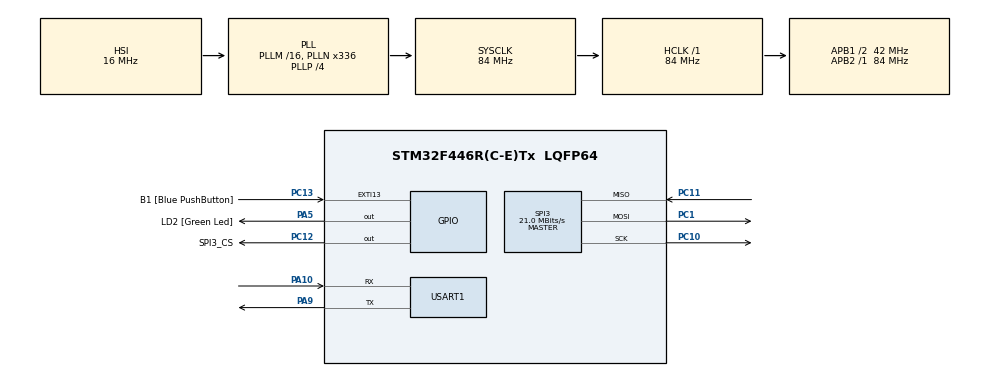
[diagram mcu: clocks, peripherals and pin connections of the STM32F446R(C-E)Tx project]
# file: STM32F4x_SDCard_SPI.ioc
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FATFS._MAX_SS=4096
FATFS._USE_LFN=1
Mcu.Family=STM32F4
Mcu.Name=STM32F446R(C-E)Tx
Mcu.Package=LQFP64
NVIC.PriorityGroup=NVIC_PRIORITYGROUP_0
PA10.Mode=Asynchronous
PA10.Signal=USART1_RX
PA13.GPIO_Label=TMS
PA13.Mode=Serial_Wire
PA13.Signal=SYS_JTMS-SWDIO
PA14.GPIO_Label=TCK
PA14.Mode=Serial_Wire
PA14.Signal=SYS_JTCK-SWCLK
PA2.GPIO_Label=USART_TX
PA2.Signal=USART2_TX
PA3.GPIO_Label=USART_RX
PA3.Signal=USART2_RX
PA5.GPIO_Label=LD2 [Green Led]
PA5.Signal=GPIO_Output
PA9.Mode=Asynchronous
PA9.Signal=USART1_TX
PB3.GPIO_Label=SWO
PB3.Signal=SYS_JTDO-SWO
PC1.Mode=Full_Duplex_Master
PC1.Signal=SPI3_MOSI
PC10.Mode=Full_Duplex_Master
PC10.Signal=SPI3_SCK
PC11.Mode=Full_Duplex_Master
PC11.Signal=SPI3_MISO
PC12.GPIO_Label=SPI3_CS
PC12.Signal=GPIO_Output
PC13.GPIO_Label=B1 [Blue PushButton]
PC13.GPIO_ModeDefaultEXTI=GPIO_MODE_IT_FALLING
PC13.Signal=GPXTI13
PC14-OSC32_IN.Mode=LSE-External-Oscillator
PC14-OSC32_IN.Signal=RCC_OSC32_IN
PC15-OSC32_OUT.Mode=LSE-External-Oscillator
PC15-OSC32_OUT.Signal=RCC_OSC32_OUT
PH0-OSC_IN.Mode=HSE-External-Oscillator
PH0-OSC_IN.Signal=RCC_OSC_IN
PH1-OSC_OUT.Mode=HSE-External-Oscillator
PH1-OSC_OUT.Signal=RCC_OSC_OUT
ProjectManager.HeapSize=0x200
ProjectManager.StackSize=0x400
ProjectManager.TargetToolchain=STM32CubeIDE
RCC.48MHZClocksFreq_Value=84000000
RCC.AHBFreq_Value=84000000
RCC.APB1CLKDivider=RCC_HCLK_DIV2
RCC.APB1Freq_Value=42000000
RCC.APB1TimFreq_Value=84000000
RCC.APB2Freq_Value=84000000
RCC.APB2TimFreq_Value=84000000
RCC.CortexFreq_Value=84000000
RCC.FLatency-AdvancedSettings=FLASH_LATENCY_2
RCC.HCLKFreq_Value=84000000
RCC.HSE_VALUE=8000000
RCC.HSI_VALUE=16000000
RCC.PLLN=336
RCC.PLLP=RCC_PLLP_DIV4
RCC.SYSCLKFreq_VALUE=84000000
RCC.SYSCLKSource=RCC_SYSCLKSOURCE_PLLCLK
RCC.USBFreq_Value=168000000
RCC.VCOOutputFreq_Value=336000000
SPI3.CalculateBaudRate=21.0 MBits/s
SPI3.Direction=SPI_DIRECTION_2LINES
SPI3.Mode=SPI_MODE_MASTER
SPI3.VirtualType=VM_MASTER
USART1.VirtualMode=VM_ASYNC
VP_FATFS_VS_Generic.Mode=User_defined
board=NUCLEO-F446RE

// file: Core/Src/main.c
/* USER CODE BEGIN Header */
/**
  ******************************************************************************
  * @file           : main.c
  * @brief          : Main program body
  ******************************************************************************
  * @attention
  *
  * Copyright (c) 2024 STMicroelectronics.
  * All rights reserved.
  *
  * This software is licensed under terms that can be found in the LICENSE file
  * in the root directory of this software component.
  * If no LICENSE file comes with this software, it is provided AS-IS.
  *
  ******************************************************************************
  */
/* USER CODE END Header */
#include "main.h"
#include "fatfs.h"

SPI_HandleTypeDef hspi3;

UART_HandleTypeDef huart1;

/* USER CODE BEGIN PV */
char TxBuffer[250];
/* USER CODE END PV */

void SystemClock_Config(void);
static void MX_GPIO_Init(void);
static void MX_SPI3_Init(void);
static void MX_USART1_UART_Init(void);
/* USER CODE BEGIN PFP */
static void SD_Card_Test(void);
/* USER CODE END PFP */

/* USER CODE BEGIN 0 */
static void UART_Print(char *str)
{

	HAL_UART_Transmit(&huart1, (uint8_t*)str, strlen(str), 100);
}
/* USER CODE END 0 */

int main(void)
{

  /* MCU Configuration--------------------------------------------------------*/

  /* Reset of all peripherals, Initializes the Flash interface and the Systick. */
  HAL_Init();

  /* Configure the system clock */
  SystemClock_Config();

  /* Initialize all configured peripherals */
  MX_GPIO_Init();
  MX_SPI3_Init();
  MX_FATFS_Init();
  MX_USART1_UART_Init();
  /* USER CODE BEGIN 2 */
  SD_Card_Test();

  /* USER CODE END 2 */

  /* Infinite loop */
  while (1)
  {

  }
}

void SystemClock_Config(void)
{
  RCC_OscInitTypeDef RCC_OscInitStruct = {0};
  RCC_ClkInitTypeDef RCC_ClkInitStruct = {0};

  /** Configure the main internal regulator output voltage
  */
  __HAL_RCC_PWR_CLK_ENABLE();
  __HAL_PWR_VOLTAGESCALING_CONFIG(PWR_REGULATOR_VOLTAGE_SCALE3);

  /** Initializes the RCC Oscillators according to the specified parameters
  * in the RCC_OscInitTypeDef structure.
  */
  RCC_OscInitStruct.OscillatorType = RCC_OSCILLATORTYPE_HSI;
  RCC_OscInitStruct.HSIState = RCC_HSI_ON;
  RCC_OscInitStruct.HSICalibrationValue = RCC_HSICALIBRATION_DEFAULT;
  RCC_OscInitStruct.PLL.PLLState = RCC_PLL_ON;
  RCC_OscInitStruct.PLL.PLLSource = RCC_PLLSOURCE_HSI;
  RCC_OscInitStruct.PLL.PLLM = 16;
  RCC_OscInitStruct.PLL.PLLN = 336;
  RCC_OscInitStruct.PLL.PLLP = RCC_PLLP_DIV4;
  RCC_OscInitStruct.PLL.PLLQ = 2;
  RCC_OscInitStruct.PLL.PLLR = 2;
  if (HAL_RCC_OscConfig(&RCC_OscInitStruct) != HAL_OK)
  {
    Error_Handler();
  }

  /** Initializes the CPU, AHB and APB buses clocks
  */
  RCC_ClkInitStruct.ClockType = RCC_CLOCKTYPE_HCLK|RCC_CLOCKTYPE_SYSCLK
                              |RCC_CLOCKTYPE_PCLK1|RCC_CLOCKTYPE_PCLK2;
  RCC_ClkInitStruct.SYSCLKSource = RCC_SYSCLKSOURCE_PLLCLK;
  RCC_ClkInitStruct.AHBCLKDivider = RCC_SYSCLK_DIV1;
  RCC_ClkInitStruct.APB1CLKDivider = RCC_HCLK_DIV2;
  RCC_ClkInitStruct.APB2CLKDivider = RCC_HCLK_DIV1;

  if (HAL_RCC_ClockConfig(&RCC_ClkInitStruct, FLASH_LATENCY_2) != HAL_OK)
  {
    Error_Handler();
  }
}

static void MX_SPI3_Init(void)
{

  /* SPI3 parameter configuration*/
  hspi3.Instance = SPI3;
  hspi3.Init.Mode = SPI_MODE_MASTER;
  hspi3.Init.Direction = SPI_DIRECTION_2LINES;
  hspi3.Init.DataSize = SPI_DATASIZE_8BIT;
  hspi3.Init.CLKPolarity = SPI_POLARITY_LOW;
  hspi3.Init.CLKPhase = SPI_PHASE_1EDGE;
  hspi3.Init.NSS = SPI_NSS_SOFT;
  hspi3.Init.BaudRatePrescaler = SPI_BAUDRATEPRESCALER_2;
  hspi3.Init.FirstBit = SPI_FIRSTBIT_MSB;
  hspi3.Init.TIMode = SPI_TIMODE_DISABLE;
  hspi3.Init.CRCCalculation = SPI_CRCCALCULATION_DISABLE;
  hspi3.Init.CRCPolynomial = 10;
  if (HAL_SPI_Init(&hspi3) != HAL_OK)
  {
    Error_Handler();
  }

}

static void MX_USART1_UART_Init(void)
{

  huart1.Instance = USART1;
  huart1.Init.BaudRate = 115200;
  huart1.Init.WordLength = UART_WORDLENGTH_8B;
  huart1.Init.StopBits = UART_STOPBITS_1;
  huart1.Init.Parity = UART_PARITY_NONE;
  huart1.Init.Mode = UART_MODE_TX_RX;
  huart1.Init.HwFlowCtl = UART_HWCONTROL_NONE;
  huart1.Init.OverSampling = UART_OVERSAMPLING_16;
  if (HAL_UART_Init(&huart1) != HAL_OK)
  {
    Error_Handler();
  }

}

static void MX_GPIO_Init(void)
{
  GPIO_InitTypeDef GPIO_InitStruct = {0};

  /* GPIO Ports Clock Enable */
  __HAL_RCC_GPIOC_CLK_ENABLE();
  __HAL_RCC_GPIOH_CLK_ENABLE();
  __HAL_RCC_GPIOA_CLK_ENABLE();
  __HAL_RCC_GPIOB_CLK_ENABLE();

  /*Configure GPIO pin Output Level */
  HAL_GPIO_WritePin(LD2_GPIO_Port, LD2_Pin, GPIO_PIN_RESET);

  /*Configure GPIO pin Output Level */
  HAL_GPIO_WritePin(SPI3_CS_GPIO_Port, SPI3_CS_Pin, GPIO_PIN_RESET);

  /*Configure GPIO pin : B1_Pin */
  GPIO_InitStruct.Pin = B1_Pin;
  GPIO_InitStruct.Mode = GPIO_MODE_IT_FALLING;
  GPIO_InitStruct.Pull = GPIO_NOPULL;
  HAL_GPIO_Init(B1_GPIO_Port, &GPIO_InitStruct);

  /*Configure GPIO pins : USART_TX_Pin USART_RX_Pin */
  GPIO_InitStruct.Pin = USART_TX_Pin|USART_RX_Pin;
  GPIO_InitStruct.Mode = GPIO_MODE_AF_PP;
  GPIO_InitStruct.Pull = GPIO_NOPULL;
  GPIO_InitStruct.Speed = GPIO_SPEED_FREQ_VERY_HIGH;
  GPIO_InitStruct.Alternate = GPIO_AF7_USART2;
  HAL_GPIO_Init(GPIOA, &GPIO_InitStruct);

  /*Configure GPIO pin : LD2_Pin */
  GPIO_InitStruct.Pin = LD2_Pin;
  GPIO_InitStruct.Mode = GPIO_MODE_OUTPUT_PP;
  GPIO_InitStruct.Pull = GPIO_NOPULL;
  GPIO_InitStruct.Speed = GPIO_SPEED_FREQ_LOW;
  HAL_GPIO_Init(LD2_GPIO_Port, &GPIO_InitStruct);

  /*Configure GPIO pin : SPI3_CS_Pin */
  GPIO_InitStruct.Pin = SPI3_CS_Pin;
  GPIO_InitStruct.Mode = GPIO_MODE_OUTPUT_PP;
  GPIO_InitStruct.Pull = GPIO_NOPULL;
  GPIO_InitStruct.Speed = GPIO_SPEED_FREQ_LOW;
  HAL_GPIO_Init(SPI3_CS_GPIO_Port, &GPIO_InitStruct);

}

/* USER CODE BEGIN 4 */
// Planning to use this SD_Card_Test Function for CardLifecycle and usage monitoring
static void SD_Card_Test(void)
{
	FATFS 	FatFs;
	FIL 	Fil;
	FRESULT FR_Status;
	FATFS	*FS_Ptr;
	UINT	RWC, WWC; //Read, Write word counter
	DWORD	FreeClusters;
	uint32_t TotalSize, FreeSpace;
	char	RW_Buff[200];

	do
	{
		//-------------------------------[ Mount the SD Card ]-----------------------------
		FR_Status = f_mount(&FatFs, "", 1);
		if(FR_Status != FR_OK)
		{
			sprintf(TxBuffer, "Error!, While mounting SD Card, Error Code: (%i)\r\n", FR_Status);
			UART_Print(TxBuffer);
			break;
		}
		sprintf(TxBuffer, "SDCard Mounted Successfully! \r\n\n");
		UART_Print(TxBuffer);
		//------------------------[Get & Print SD Card Size & Free Space]------------------
		f_getfree("", &FreeClusters, &FS_Ptr);
		TotalSize = (uint32_t)((FS_Ptr->n_fatent - 2) * FS_Ptr->csize * 0.5);
		FreeSpace = (uint32_t)(FreeClusters * FS_Ptr->csize * 0.5);
		sprintf(TxBuffer, "Total SD card Size: %lu Bytes\r\n", TotalSize);
		UART_Print(TxBuffer);
		sprintf(TxBuffer, "Free SD card Space: %lu Bytes\r\n", FreeSpace);
		UART_Print(TxBuffer);
		//-----------------------[Open a Text file for write & Write data]-----------------
		// Open a file
		FR_Status = f_open(&Fil, "TextFileWrite.txt", FA_READ | FA_WRITE | FA_CREATE_ALWAYS);
		if(FR_Status != FR_OK)
		{
			sprintf(TxBuffer, "Error!, In opening/creating a .txt file, Error code : (%i)\r\n", FR_Status);
			UART_Print(TxBuffer);
			break;
		}
		sprintf(TxBuffer, "Text File Created & Opened! Writing Data to the text File\r\n");
		UART_Print(TxBuffer);
		// (1)Write data to the text file [ use f_puts() function]
	    f_puts("Hello! From Kiddy To SD Card Over SPI, Using f_puts()\n", &Fil);
	    // (2) Write Data To The Text File [ Using f_write() Function ]
	    strcpy(RW_Buff, "Hello! From Kiddy To SD Card Over SPI, Using f_write()\r\n");
	    f_write(&Fil, RW_Buff, strlen(RW_Buff), &WWC);
	    // Close the file
	    f_close(&Fil);
	    //-------------------------[Open a Text file for Read & Read data]------------------
	    // Open a file
	    FR_Status = f_open(&Fil, "TextFileWrite.txt", FA_READ);
	    if(FR_Status != FR_OK)
	    {
	    	sprintf(TxBuffer, "Error!, While opening file for read .. \r\n");
	    	UART_Print(TxBuffer);
	    	break;
	    }
	    // (1) Read The Text File's Data [ Using f_gets() Function ]
	    f_gets(RW_Buff, sizeof(RW_Buff), &Fil);
	    sprintf(TxBuffer, "Data Read From (TextFileWrite.txt) Using f_gets():%s", RW_Buff);
	    UART_Print(TxBuffer);
	    // (2) Read The Text File's Data [ Using f_read() Function ]
	    f_read(&Fil, RW_Buff, f_size(&Fil), &RWC);
	    sprintf(TxBuffer, "Data Read From (TextFileWrite.txt) Using f_read():%s", RW_Buff);
	    UART_Print(TxBuffer);
	    // Close The File
	    f_close(&Fil);
	    sprintf(TxBuffer, "File Closed! \r\n\n");
	    UART_Print(TxBuffer);
	    //-----------[ Open An Existing Text File, Update Its Content, Read It Back ]--------
	    // (1) Open The Existing File For Write (Update)
	    FR_Status = f_open(&Fil, "TextFileWrite.txt", FA_OPEN_EXISTING | FA_WRITE);
	    FR_Status = f_lseek(&Fil, f_size(&Fil)); // Move The File Pointer To The EOF (End-Of-File)
	    if(FR_Status != FR_OK)
	    {
	      sprintf(TxBuffer, "Error! While Opening (TextFileWrite.txt) File For Update.. \r\n");
	      UART_Print(TxBuffer);
	      break;
	    }
	    // (2) Write New Line of Text Data To The File
	    FR_Status = f_puts("This New Line Was Added During Update!\r\n", &Fil);
	    f_close(&Fil);
	    memset(RW_Buff,'\0',sizeof(RW_Buff)); // Clear The Buffer
	    // (3) Read The Contents of The Text File After The Update
	    FR_Status = f_open(&Fil, "TextFileWrite.txt", FA_READ); // Open The File For Read
	    f_read(&Fil, RW_Buff, f_size(&Fil), &RWC);
	    sprintf(TxBuffer, "Data Read From (TextFileWrite.txt) After Update:%s", RW_Buff);
	    UART_Print(TxBuffer);
	    f_close(&Fil);
	    //-----------------------------[ Delete The Text File ]---------------------------
	    // Delete The File
	    /*
	    FR_Status = f_unlink(TextFileWrite.txt);
	    if (FR_Status != FR_OK){
	        sprintf(TxBuffer, "Error! While Deleting The (TextFileWrite.txt) File.. \r\n");
	        UART_Print(TxBuffer);
	    }
	    */
	}while(0);
	//-----------------------[Test completed!, Unmount the SDCard]----------------------------
	FR_Status = f_mount(NULL, "", 0);
	if(FR_Status != FR_OK)
	{
		sprintf(TxBuffer, "Error!, While Unmounting the SD card, Error code : (%i)\r\n", FR_Status);
		UART_Print(TxBuffer);
	}
	else
	{
		sprintf(TxBuffer, "SD Card unmounted successfully! \r\n");
		UART_Print(TxBuffer);
	}

}
/* USER CODE END 4 */

void Error_Handler(void)
{
  __disable_irq();
  while (1)
  {
  }
}
